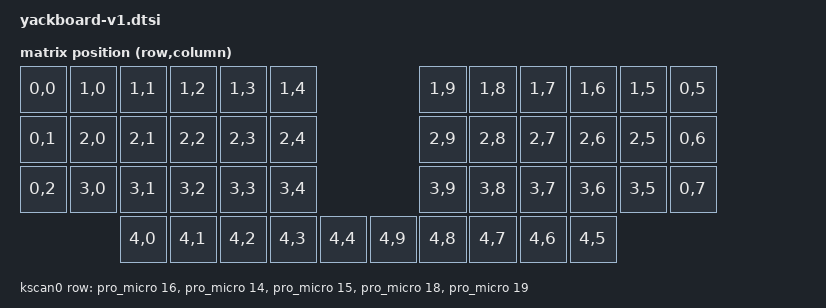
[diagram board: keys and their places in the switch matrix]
#include <dt-bindings/zmk/matrix_transform.h>

#define L_DEF  0 // default layer
#define L_NAV  1 // navigation layer
#define L_NUM  2 // number and symbols layer
#define L_FUN  3 // function key layer
#define L_BLE  4 // secret layer for bluetooth configuration
#define L_SHF  5 // special layer that modifies only the shift key
#define L_DEAD 6 // layer for dead keys

/ {
  chosen {
    zmk,kscan = &kscan0;
    zmk,matrix_transform = &default_transform;
    zephyr,console = &cdc_acm_uart;            // this is to allow USB debugging when the CONFIG_ZMK_USB_LOGGING=y is set in yackboard-v1_right.conf
  };

  default_transform: keymap_transform_0 {
    compatible = "zmk,matrix-transform";
    columns = <10>;
    rows = <5>;

// +-------+-------+-------+-------+-------+-------+                       +-------+-------+-------+-------+-------+-------+
// |       |       |       |       |       |       |                       |       |       |       |       |       |       |
// +-------+-------+-------+-------+-------+-------+                       +-------+-------+-------+-------+-------+-------+
// |       |       |       |       |       |       |                       |       |       |       |       |       |       |
// +-------+-------+-------+-------+-------+-------+                       +-------+-------+-------+-------+-------+-------+
// |       |       |       |       |       |       |                       |       |       |       |       |       |       |
// +-------+-------+-------+-------+-------+-------+-------+       +-------+-------+-------+-------+-------+-------+-------+
//                 |       |       |       |       |       |       |       |       |       |       |       |
//                 +-------+-------+-------+-------+-------+       +-------+-------+-------+-------+-------+

  // The following matrix transform describes the wiring of the Yackboard
  map = <
    RC(0,0) RC(1,0) RC(1,1) RC(1,2) RC(1,3) RC(1,4)                         RC(1,9) RC(1,8) RC(1,7) RC(1,6) RC(1,5) RC(0,5)
    RC(0,1) RC(2,0) RC(2,1) RC(2,2) RC(2,3) RC(2,4)                         RC(2,9) RC(2,8) RC(2,7) RC(2,6) RC(2,5) RC(0,6)
    RC(0,2) RC(3,0) RC(3,1) RC(3,2) RC(3,3) RC(3,4)                         RC(3,9) RC(3,8) RC(3,7) RC(3,6) RC(3,5) RC(0,7)
                    RC(4,0) RC(4,1) RC(4,2) RC(4,3) RC(4,4)         RC(4,9) RC(4,8) RC(4,7) RC(4,6) RC(4,5)
    >;
  };

  kscan0: kscan_0 {
    compatible = "zmk,kscan-gpio-matrix";
    label = "KSCAN";
    diode-direction = "row2col";

    row-gpios // The following are the rows of the matrix of the Yackboard (with diodes pointing from rows to columns)
      = <&pro_micro 16 GPIO_ACTIVE_HIGH>
      , <&pro_micro 14 GPIO_ACTIVE_HIGH>
      , <&pro_micro 15 GPIO_ACTIVE_HIGH>
      , <&pro_micro 18 GPIO_ACTIVE_HIGH>
      , <&pro_micro 19 GPIO_ACTIVE_HIGH>
      ;
  };
};

// The following is the device used for USB debugging.

&usbd {
  status = "okay";
  cdc_acm_uart: cdc_acm_uart {
    compatible = "zephyr,cdc-acm-uart";
    label = "CDC_ACM_0";
  };
};
